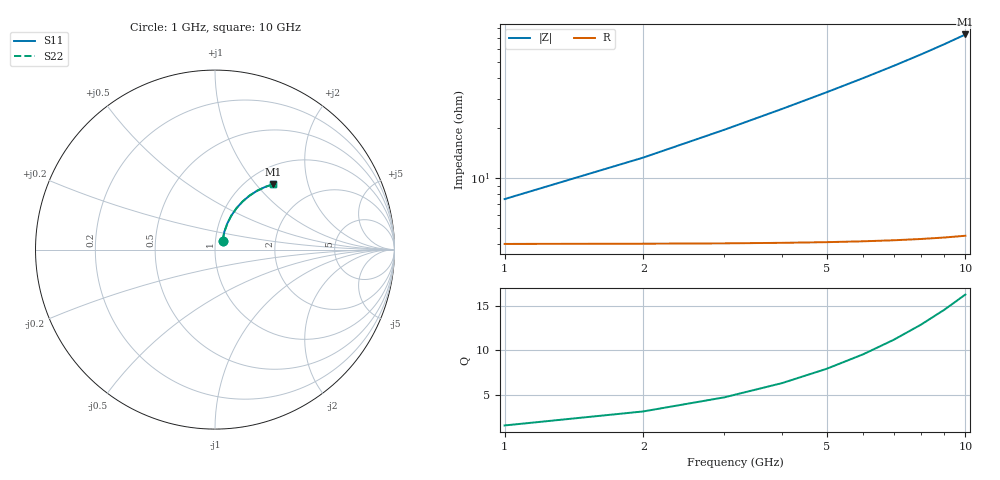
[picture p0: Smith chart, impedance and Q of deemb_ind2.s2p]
! Created Mon Sep 20 20:51:51 2021
# hz S ma R 50
! 2 Port Network Data from SP1.SP block
! freq  magS11  angS11  magS21  angS21  magS12  angS12  magS22  angS22
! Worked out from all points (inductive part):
!   10 points, 1 GHz to 10 GHz, reference 50 ohm
!   read as 1/Y11, port 2 shorted: L = 1.01 nH near 2 GHz
!   highest Q = 16.3 at 10 GHz (marker M1), where L = 1.16 nH
1e9  0.0653 50.1  0.9602 -3.9  0.9602 -3.9  0.0653 50.1
2e9  0.1121 62.3  0.9563 -7.8  0.9563 -7.8  0.1121 62.3
3e9  0.1619 64.8  0.9498 -11.8  0.9498 -11.8  0.1619 64.8
4e9  0.212 64.3  0.9409 -15.6  0.9409 -15.6  0.212 64.3
5e9  0.2615 62.5  0.9295 -19.5  0.9295 -19.5  0.2615 62.5
6e9  0.31 60.1  0.9159 -23.3  0.9159 -23.3  0.31 60.1
7e9  0.3572 57.4  0.9002 -27.1  0.9002 -27.1  0.3572 57.4
8e9  0.4029 54.4  0.8825 -30.9  0.8825 -30.9  0.4029 54.4
9e9  0.4469 51.4  0.863 -34.6  0.863 -34.6  0.4469 51.4
1e10  0.4891 48.2  0.842 -38.2  0.842 -38.2  0.4891 48.2
